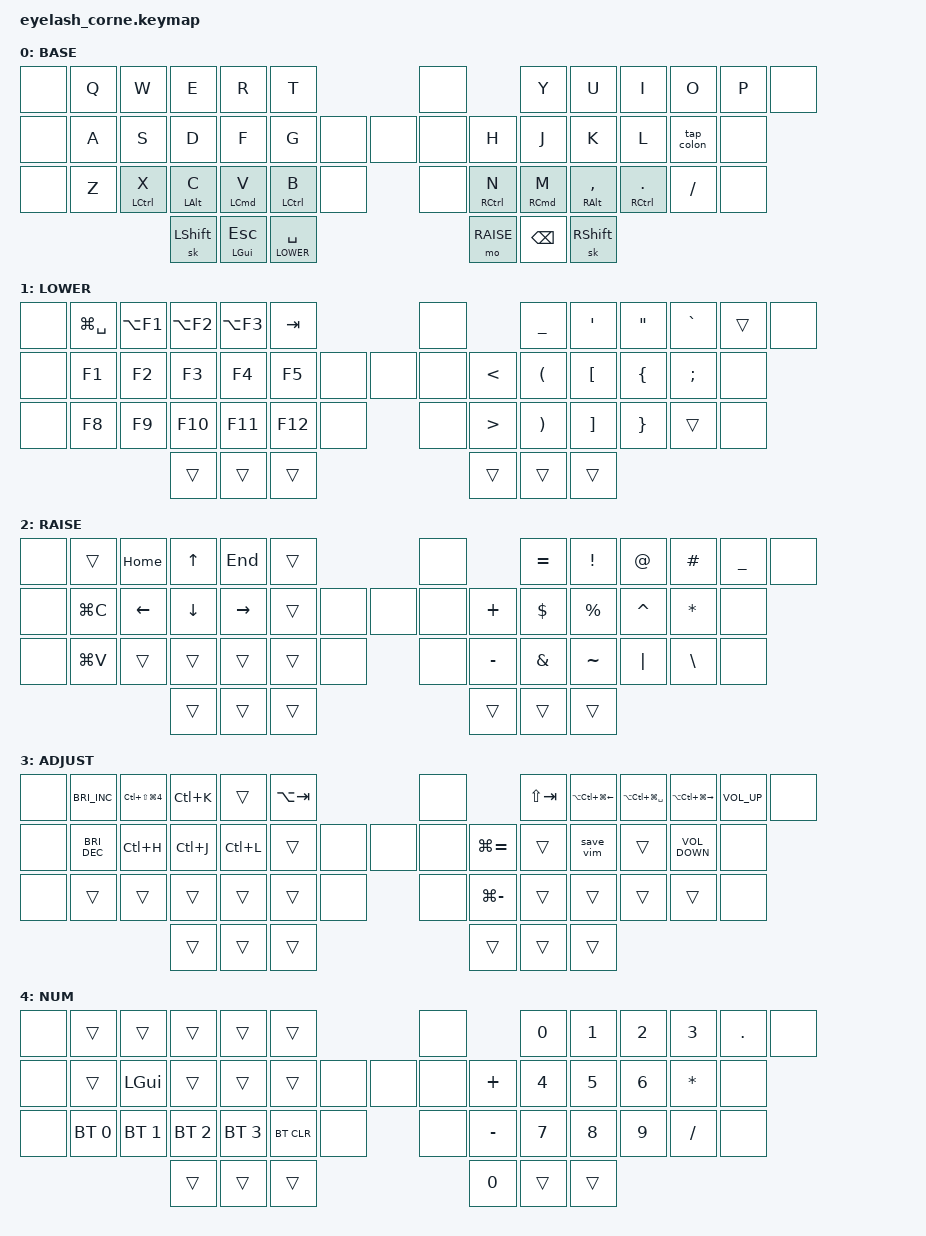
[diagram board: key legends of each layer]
/*
 * Scorpio 2 Keymap
 * Based on ynot-keyboard layout adapted for Eyelash Corne hardware
 *
 * Eyelash Corne 48-key matrix (positions per row: 13, 15, 14, 6 = 48 total):
 *
 * Row 0: | 0  | 1  | 2  | 3  | 4  | 5  |     | 6* |     | 7  | 8  | 9  | 10 | 11 | 12 |
 * Row 1: | 13 | 14 | 15 | 16 | 17 | 18 | 19* | 20*| 21* | 22 | 23 | 24 | 25 | 26 | 27 |
 * Row 2: | 28 | 29 | 30 | 31 | 32 | 33 | 34* |    | 35* | 36 | 37 | 38 | 39 | 40 | 41 |
 * Row 3:                     | 42 | 43 | 44 |          | 45 | 46 | 47 |
 *
 * 5-column layout: outer cols (0,13,28 / 12,27,41) and center (6,19-21,34,35) = &none
 */

#define HM_TAPPING_TERM 300
#define HM_TAPPING_TERM_FAST 200
#define HM_PRIOR_IDLE 100

#include <behaviors.dtsi>
#include <dt-bindings/zmk/bt.h>
#include <dt-bindings/zmk/keys.h>
#include <dt-bindings/zmk/rgb.h>

#define BASE 0
#define LOWER 1
#define RAISE 2
#define ADJUST 3
#define NUMPAD 4

/* Key position labels for homerow mods */
#define KEYS_L  1  2  3  4  5  14 15 16 17 18  29 30 31 32 33
#define KEYS_R  7  8  9  10 11  22 23 24 25 26  36 37 38 39 40
#define THUMBS  42 43 44  45 46 47

&lt {
    tapping-term-ms = <200>;
    quick-tap-ms = <150>;
    flavor = "tap-unless-interrupted";
};

/ {
    behaviors {
        hml: homerow_mods_left {
            compatible = "zmk,behavior-hold-tap";
            #binding-cells = <2>;
            bindings = <&kp>, <&kp>;
            flavor = "balanced";
            tapping-term-ms = <HM_TAPPING_TERM>;
            quick-tap-ms = <175>;
            require-prior-idle-ms = <HM_PRIOR_IDLE>;
            hold-trigger-key-positions = <KEYS_R THUMBS>;
            hold-trigger-on-release;
        };

        hmr: homerow_mods_right {
            compatible = "zmk,behavior-hold-tap";
            #binding-cells = <2>;
            bindings = <&kp>, <&kp>;
            flavor = "balanced";
            tapping-term-ms = <HM_TAPPING_TERM>;
            quick-tap-ms = <175>;
            require-prior-idle-ms = <HM_PRIOR_IDLE>;
            hold-trigger-key-positions = <KEYS_L THUMBS>;
            hold-trigger-on-release;
        };

        hm: homerow_mods {
            compatible = "zmk,behavior-hold-tap";
            #binding-cells = <2>;
            bindings = <&kp>, <&kp>;
            flavor = "balanced";
            tapping-term-ms = <HM_TAPPING_TERM>;
            quick-tap-ms = <200>;
        };
    };
};

/ {
    macros {
        save_vim: save_vim {
            compatible = "zmk,behavior-macro";
            #binding-cells = <0>;
            bindings = <&kp ESCAPE &kp ESCAPE &kp SPACE &kp SPACE>;
            label = "SAVE_VIM";
        };

        tap_colon: super_colon {
            compatible = "zmk,behavior-macro";
            #binding-cells = <0>;
            bindings = <&kp COLON>;
            label = "SUPER_COLON";
        };
    };

    combos {
        compatible = "zmk,combos";
        timeout-ms = <30>;

        numlayer {
            bindings = <&sl NUMPAD>;
            key-positions = <14 15>;
        };

        homerow_hyperspace {
            bindings = <&kp LS(LA(LC(LG(SPACE))))>;
            key-positions = <43 46>;
        };

        return {
            bindings = <&kp RETURN>;
            key-positions = <23 24>;
        };

        hyper {
            bindings = <&sk LA(LC(LG(LEFT_SHIFT)))>;
            key-positions = <42 47>;
        };

        control_b {
            bindings = <&kp LC(B)>;
            key-positions = <18 22>;
        };

        caps_word_combo {
            bindings = <&caps_word>;
            key-positions = <32 31>;
        };
    };

    keymap {
        compatible = "zmk,keymap";

        default_layer {
            display-name = "BASE";
//          | outer|  Q  |  W  |  E  |  R  |  T  |  joy |  Y  |  U  |  I  |  O  |  P  |outer|
//          | outer|  A  |  S  |  D  |  F  |  G  | j j j|  H  |  J  |  K  |  L  |  :  |outer|
//          | outer|  Z  |  X  |  C  |  V  |  B  |enc|jy|  N  |  M  |  ,  |  .  |  /  |outer|
//                              | shft| esc | spc |      | rse | bspc| shft|
            bindings = <
&none  &kp Q  &kp W                &kp E            &kp R                 &kp T                     &none                        &kp Y                 &kp U                 &kp I                 &kp O                   &kp P          &none
&none  &kp A  &kp S                &kp D            &kp F                 &kp G          &none &none &none          &kp H                 &kp J                 &kp K                 &kp L                   &tap_colon     &none
&none  &kp Z  &hml LEFT_CONTROL X  &hml LEFT_ALT C  &hml LEFT_COMMAND V   &hml LEFT_CONTROL B  &none      &none      &hmr RIGHT_CONTROL N  &hmr RIGHT_COMMAND M  &hmr RIGHT_ALT COMMA  &hmr RIGHT_CONTROL DOT  &kp SLASH      &none
                                   &sk LEFT_SHIFT   &hmr LEFT_GUI ESCAPE  &lt LOWER SPACE                          &mo RAISE             &kp BACKSPACE         &sk RIGHT_SHIFT
            >;
        };

        lower_layer {
            display-name = "LOWER";
            bindings = <
&none  &kp LG(SPACE)  &kp LA(F1)  &kp LA(F2)  &kp LA(F3)  &kp TAB                  &none                    &kp UNDER          &kp SINGLE_QUOTE       &kp DOUBLE_QUOTES   &kp GRAVE       &trans  &none
&none  &kp F1         &kp F2      &kp F3      &kp F4      &kp F5        &none &none &none        &kp LESS_THAN      &kp LEFT_PARENTHESIS   &kp LEFT_BRACKET   &kp LEFT_BRACE   &kp SEMICOLON  &none
&none  &kp F8         &kp F9      &kp F10     &kp F11     &kp F12  &none      &none        &kp GREATER_THAN   &kp RIGHT_PARENTHESIS  &kp RIGHT_BRACKET  &kp RIGHT_BRACE  &trans         &none
                                  &trans      &trans      &trans                            &trans             &trans                 &trans
            >;
        };

        raise_layer {
            display-name = "RAISE";
            bindings = <
&none  &trans      &kp HOME  &kp UP    &kp END    &trans                    &none                    &kp EQUAL  &kp EXCL       &kp AT       &kp HASH   &kp UNDER      &none
&none  &kp LG(C)   &kp LEFT  &kp DOWN  &kp RIGHT  &trans         &none &none &none        &kp PLUS   &kp DOLLAR     &kp PERCENT  &kp CARET  &kp STAR       &none
&none  &kp LG(V)   &trans    &trans    &trans     &trans    &none      &none        &kp MINUS  &kp AMPERSAND  &kp TILDE    &kp PIPE   &kp BACKSLASH  &none
                             &trans    &trans     &trans                            &trans     &trans         &trans
            >;
        };

        adjust_layer {
            display-name = "ADJUST";
            bindings = <
&none  &kp C_BRIGHTNESS_INC  &kp LC(LS(LG(N4)))  &kp LC(K)  &trans     &kp LA(TAB)                &none                    &kp LS(TAB)    &kp LA(LC(LG(LEFT)))  &kp LA(LC(LG(SPACE)))  &kp LA(LC(LG(RIGHT)))  &kp C_VOLUME_UP    &none
&none  &kp C_BRIGHTNESS_DEC  &kp LC(H)           &kp LC(J)  &kp LC(L)  &trans          &none &none &none        &kp LG(EQUAL)  &trans                &save_vim              &trans                 &kp C_VOLUME_DOWN  &none
&none  &trans                &trans              &trans     &trans     &trans     &none      &none        &kp LG(MINUS)  &trans                &trans                 &trans                 &trans             &none
                                                &trans     &trans     &trans                              &trans         &trans                &trans
            >;
        };

        numpad_layer {
            display-name = "NUM";
            bindings = <
&none  &trans        &trans        &trans        &trans        &trans                      &none                    &kp N0     &kp N1  &kp N2  &kp N3  &kp PERIOD  &none
&none  &trans        &kp LEFT_GUI  &trans        &trans        &trans          &none &none &none        &kp PLUS   &kp N4  &kp N5  &kp N6  &kp STAR    &none
&none  &bt BT_SEL 0  &bt BT_SEL 1  &bt BT_SEL 2  &bt BT_SEL 3  &bt BT_CLR &none      &none        &kp MINUS  &kp N7  &kp N8  &kp N9  &kp SLASH   &none
                                   &trans        &trans        &trans                                &kp N0     &trans  &trans
            >;
        };
    };

    conditional_layers {
        compatible = "zmk,conditional-layers";

        tri-layer {
            if-layers = <LOWER RAISE>;
            then-layer = <ADJUST>;
        };
    };
};
